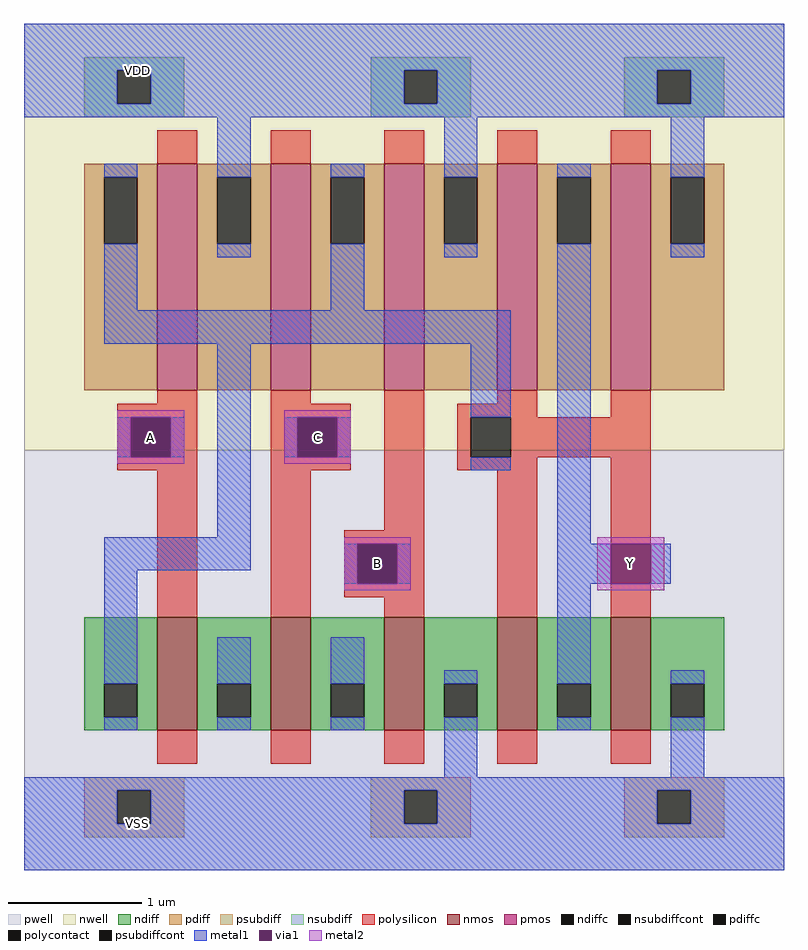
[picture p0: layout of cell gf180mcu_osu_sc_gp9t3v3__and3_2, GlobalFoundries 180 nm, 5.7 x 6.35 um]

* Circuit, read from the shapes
.subckt gf180mcu_osu_sc_gp9t3v3__and3_2 A B Y C VDD VSS
XM1 n1 A n2 VSS nfet_03v3 w=0.85u l=0.3u
XM2 n3 C n1 VSS nfet_03v3 w=0.85u l=0.3u
XM3 VSS B n3 VSS nfet_03v3 w=0.85u l=0.3u
XM4 Y n2 VSS VSS nfet_03v3 w=0.85u l=0.3u m=2
XM5 VDD A n2 VDD pfet_03v3 w=1.7u l=0.3u
XM6 n2 C VDD VDD pfet_03v3 w=1.7u l=0.3u
XM7 VDD B n2 VDD pfet_03v3 w=1.7u l=0.3u
XM8 Y n2 VDD VDD pfet_03v3 w=1.7u l=0.3u m=2
.ends

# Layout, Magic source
magic
tech gf180mcuD
<< nwell >>
rect -18 63 96 127
<< pwell >>
rect -18 0 96 63
<< nmos >>
rect 2 21 8 38
rect 19 21 25 38
rect 36 21 42 38
rect 53 21 59 38
rect 70 21 76 38
<< pmos >>
rect 2 72 8 106
rect 19 72 25 106
rect 36 72 42 106
rect 53 72 59 106
rect 70 72 76 106
<< ndiff >>
rect -9 28 2 38
rect -9 23 -6 28
rect -1 23 2 28
rect -9 21 2 23
rect 8 28 19 38
rect 8 23 11 28
rect 16 23 19 28
rect 8 21 19 23
rect 25 28 36 38
rect 25 23 28 28
rect 33 23 36 28
rect 25 21 36 23
rect 42 28 53 38
rect 42 23 45 28
rect 50 23 53 28
rect 42 21 53 23
rect 59 28 70 38
rect 59 23 62 28
rect 67 23 70 28
rect 59 21 70 23
rect 76 28 87 38
rect 76 23 79 28
rect 84 23 87 28
rect 76 21 87 23
<< pdiff >>
rect -9 104 2 106
rect -9 94 -6 104
rect -1 94 2 104
rect -9 72 2 94
rect 8 104 19 106
rect 8 94 11 104
rect 16 94 19 104
rect 8 72 19 94
rect 25 104 36 106
rect 25 94 28 104
rect 33 94 36 104
rect 25 72 36 94
rect 42 104 53 106
rect 42 94 45 104
rect 50 94 53 104
rect 42 72 53 94
rect 59 104 70 106
rect 59 94 62 104
rect 67 94 70 104
rect 59 72 70 94
rect 76 104 87 106
rect 76 94 79 104
rect 84 94 87 104
rect 76 72 87 94
<< ndiffc >>
rect -6 23 -1 28
rect 11 23 16 28
rect 28 23 33 28
rect 45 23 50 28
rect 62 23 67 28
rect 79 23 84 28
<< pdiffc >>
rect -6 94 -1 104
rect 11 94 16 104
rect 28 94 33 104
rect 45 94 50 104
rect 62 94 67 104
rect 79 94 84 104
<< psubdiff >>
rect -9 12 6 14
rect -9 7 -4 12
rect 1 7 6 12
rect -9 5 6 7
rect 34 12 49 14
rect 34 7 39 12
rect 44 7 49 12
rect 34 5 49 7
rect 72 12 87 14
rect 72 7 77 12
rect 82 7 87 12
rect 72 5 87 7
<< nsubdiff >>
rect -9 120 6 122
rect -9 115 -4 120
rect 1 115 6 120
rect -9 113 6 115
rect 34 120 49 122
rect 34 115 39 120
rect 44 115 49 120
rect 34 113 49 115
rect 72 120 87 122
rect 72 115 77 120
rect 82 115 87 120
rect 72 113 87 115
<< psubdiffcont >>
rect -4 7 1 12
rect 39 7 44 12
rect 77 7 82 12
<< nsubdiffcont >>
rect -4 115 1 120
rect 39 115 44 120
rect 77 115 82 120
<< polysilicon >>
rect 2 106 8 111
rect 19 106 25 111
rect 36 106 42 111
rect 53 106 59 111
rect 70 106 76 111
rect 2 70 8 72
rect -4 68 8 70
rect -4 62 -2 68
rect 4 62 8 68
rect -4 60 8 62
rect 2 38 8 60
rect 19 70 25 72
rect 19 68 31 70
rect 19 62 23 68
rect 29 62 31 68
rect 19 60 31 62
rect 19 38 25 60
rect 36 51 42 72
rect 53 70 59 72
rect 47 68 59 70
rect 70 68 76 72
rect 47 62 49 68
rect 55 62 76 68
rect 47 60 59 62
rect 30 49 42 51
rect 30 43 32 49
rect 38 43 42 49
rect 30 41 42 43
rect 36 38 42 41
rect 53 38 59 60
rect 70 38 76 62
rect 2 16 8 21
rect 19 16 25 21
rect 36 16 42 21
rect 53 16 59 21
rect 70 16 76 21
<< polycontact >>
rect -2 62 4 68
rect 23 62 29 68
rect 49 62 55 68
rect 32 43 38 49
<< metal1 >>
rect -18 120 96 127
rect -18 115 -4 120
rect 1 115 39 120
rect 44 115 77 120
rect 82 115 96 120
rect -18 113 96 115
rect -6 104 -1 106
rect -6 84 -1 94
rect 11 104 16 113
rect 11 92 16 94
rect 28 104 33 106
rect 28 84 33 94
rect 45 104 50 113
rect 45 92 50 94
rect 62 104 67 106
rect -6 79 55 84
rect -4 62 -2 68
rect 4 62 6 68
rect 11 50 16 79
rect 49 68 55 79
rect 21 62 23 68
rect 29 62 31 68
rect 49 60 55 62
rect -6 45 16 50
rect 62 49 67 94
rect 79 104 84 113
rect 79 92 84 94
rect -6 28 -1 45
rect 30 43 32 49
rect 38 43 40 49
rect 62 43 70 49
rect 76 43 79 49
rect -6 21 -1 23
rect 11 28 16 35
rect 11 21 16 23
rect 28 28 33 35
rect 28 21 33 23
rect 45 28 50 30
rect 45 14 50 23
rect 62 28 67 43
rect 62 21 67 23
rect 79 28 84 30
rect 79 14 84 23
rect -18 12 96 14
rect -18 7 -4 12
rect 1 7 39 12
rect 44 7 77 12
rect 82 7 96 12
rect -18 0 96 7
<< via1 >>
rect -2 62 4 68
rect 23 62 29 68
rect 32 43 38 49
rect 70 43 76 49
<< metal2 >>
rect -4 68 6 69
rect -4 62 -2 68
rect 4 62 6 68
rect -4 61 6 62
rect 21 68 31 69
rect 21 62 23 68
rect 29 62 31 68
rect 21 61 31 62
rect 30 49 40 50
rect 30 43 32 49
rect 38 43 40 49
rect 30 42 40 43
rect 68 49 78 50
rect 68 43 70 49
rect 76 43 78 49
rect 68 42 78 43
<< labels >>
flabel metal2 -4 61 6 69 0 FreeSans 48 0 0 0 A
port 0 nsew
flabel metal2 30 42 40 50 0 FreeSans 48 0 0 0 B
port 1 nsew
flabel metal2 68 42 78 50 0 FreeSans 48 0 0 0 Y
port 2 nsew
flabel metal2 21 61 31 69 0 FreeSans 48 0 0 0 C
port 3 nsew
flabel nwell -9 116 7 124 0 FreeSans 48 0 0 0 VDD
port 4 nsew
flabel metal1 -9 3 7 11 0 FreeSans 48 0 0 0 VSS
port 5 nsew
<< properties >>
string FIXED_BBOX -18 0 96 127
<< end >>
